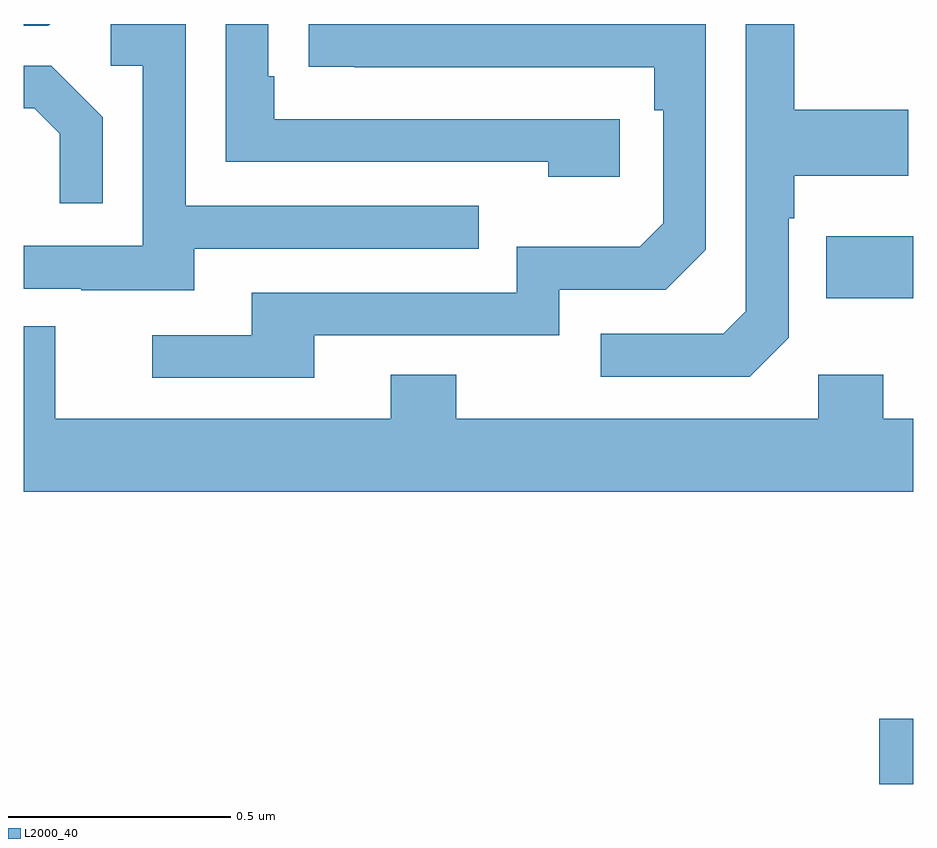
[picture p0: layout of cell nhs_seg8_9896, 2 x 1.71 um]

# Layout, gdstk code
import gdstk
lib = gdstk.Library(unit=1e-6, precision=1e-09)
def R(c, l, rs):  # rectangles x0, y0, x1, y1
    for r in rs: c.add(gdstk.rectangle(r[:2], r[2:], *l))
def P(c, l, *ps):  # polygons
    for p in ps: c.add(gdstk.Polygon(p, *l))
L2000_40 = (2000, 40)

nhs_seg8_9896 = lib.new_cell('nhs_seg8_9896')
R(nhs_seg8_9896, L2000_40, [(243.924,1101.191,244,1101.338), (243.805,1102.283,244,1102.423)])
P(nhs_seg8_9896, L2000_40, [(242.059,1102.9),(242,1102.9),(242,1102.896),(242.055,1102.896)],
  [(243.34,1102.686),(242.563,1102.686),(242.563,1102.783),(242.55,1102.783),(242.55,1102.9),(242.454,1102.9),(242.454,1102.59),(243.179,1102.59),(243.179,1102.556),(243.34,1102.556)],
  [(242.653,1102.2),(243.204,1102.2),(243.204,1102.302),(243.444,1102.302),(243.534,1102.392),(243.534,1102.899),(243.239,1102.899),(243.239,1102.9),(243.127,1102.9),(243.127,1102.899),(242.737,1102.899),(242.737,1102.9),(242.641,1102.9),(242.641,1102.804),(242.743,1102.804),(242.743,1102.803),(243.418,1102.803),(243.418,1102.706),(243.438,1102.706),(243.438,1102.452),(243.385,1102.399),(243.108,1102.399),(243.108,1102.296),(242.513,1102.296),(242.513,1102.2),(242.289,1102.2),(242.289,1102.104),(242.653,1102.104)],
  [(243.72,1102.194),(243.72,1102.463),(243.733,1102.463),(243.733,1102.559),(243.989,1102.559),(243.989,1102.707),(243.733,1102.707),(243.733,1102.9),(243.624,1102.9),(243.624,1102.254),(243.573,1102.203),(243.297,1102.203),(243.297,1102.107),(243.633,1102.107)],
  [(242.383,1102.395),(243.023,1102.395),(243.023,1102.491),(242.364,1102.491),(242.364,1102.9),(242.196,1102.9),(242.196,1102.806),(242.268,1102.806),(242.268,1102.401),(242,1102.401),(242,1102.305),(242.129,1102.305),(242.129,1102.301),(242.383,1102.301)],
  [(242.178,1102.69),(242.062,1102.806),(242,1102.806),(242,1102.71),(242.024,1102.71),(242.081,1102.653),(242.081,1102.497),(242.178,1102.497)],
  [(244,1102.012),(243.933,1102.012),(243.933,1102.111),(243.786,1102.111),(243.786,1102.012),(242.973,1102.012),(242.973,1102.111),(242.825,1102.111),(242.825,1102.012),(242.071,1102.012),(242.071,1102.22),(242,1102.22),(242,1101.848),(244,1101.848)])

lib.write_gds('nhs_seg8_9896.gds')
